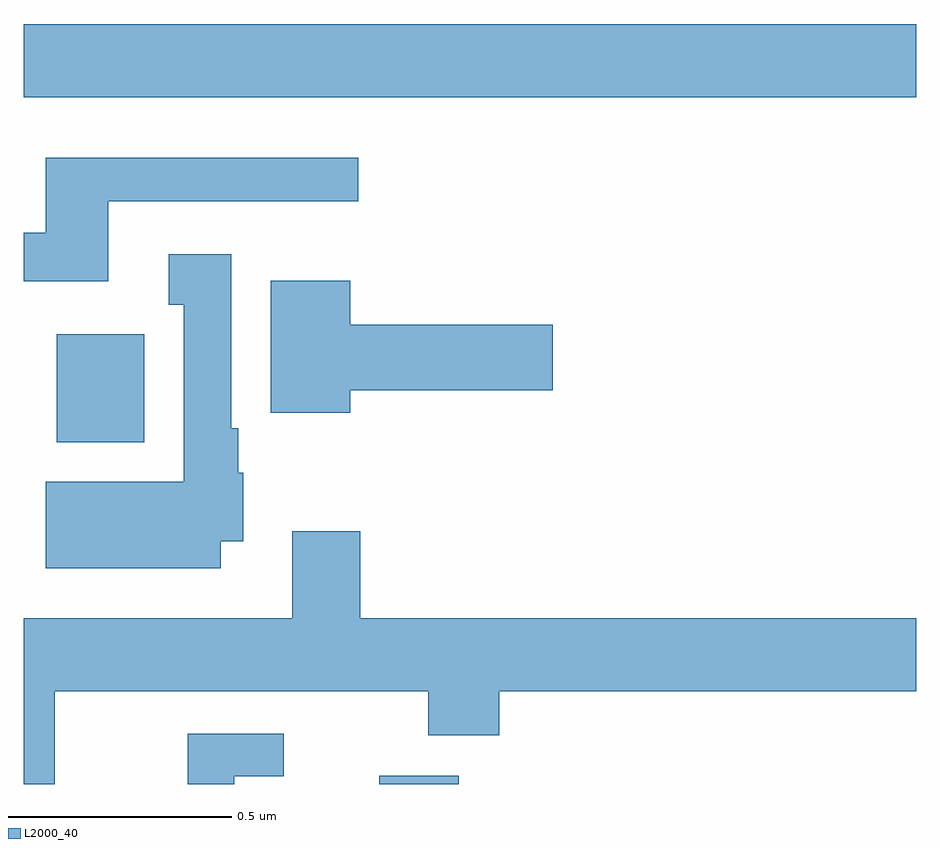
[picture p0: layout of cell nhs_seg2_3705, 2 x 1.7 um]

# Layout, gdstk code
import gdstk
lib = gdstk.Library(unit=1e-6, precision=1e-09)
def R(c, l, rs):  # rectangles x0, y0, x1, y1
    for r in rs: c.add(gdstk.rectangle(r[:2], r[2:], *l))
def P(c, l, *ps):  # polygons
    for p in ps: c.add(gdstk.Polygon(p, *l))
L2000_40 = (2000, 40)

nhs_seg2_3705 = lib.new_cell('nhs_seg2_3705')
R(nhs_seg2_3705, L2000_40, [(157.796,608.8,157.975,608.818), (157.073,609.566,157.27,609.808), (157,610.34,159,610.504)])
P(nhs_seg2_3705, L2000_40, [(157.189,610.107),(157.75,610.107),(157.75,610.204),(157.049,610.204),(157.049,610.036),(157,610.036),(157,609.927),(157.189,609.927)],
  [(157.441,609.344),(157.492,609.344),(157.492,609.498),(157.48,609.498),(157.48,609.598),(157.465,609.598),(157.465,609.988),(157.325,609.988),(157.325,609.875),(157.358,609.875),(157.358,609.478),(157.049,609.478),(157.049,609.284),(157.441,609.284)],
  [(157.732,609.683),(158.185,609.683),(158.185,609.83),(157.732,609.83),(157.732,609.928),(157.553,609.928),(157.553,609.632),(157.732,609.632)],
  [(157.069,609.008),(157.906,609.008),(157.906,608.909),(158.066,608.909),(158.066,609.008),(159,609.008),(159,609.172),(157.754,609.172),(157.754,609.367),(157.601,609.367),(157.601,609.172),(157,609.172),(157,608.8),(157.069,608.8)],
  [(157.471,608.817),(157.582,608.817),(157.582,608.913),(157.367,608.913),(157.367,608.8),(157.471,608.8)])

lib.write_gds('nhs_seg2_3705.gds')
